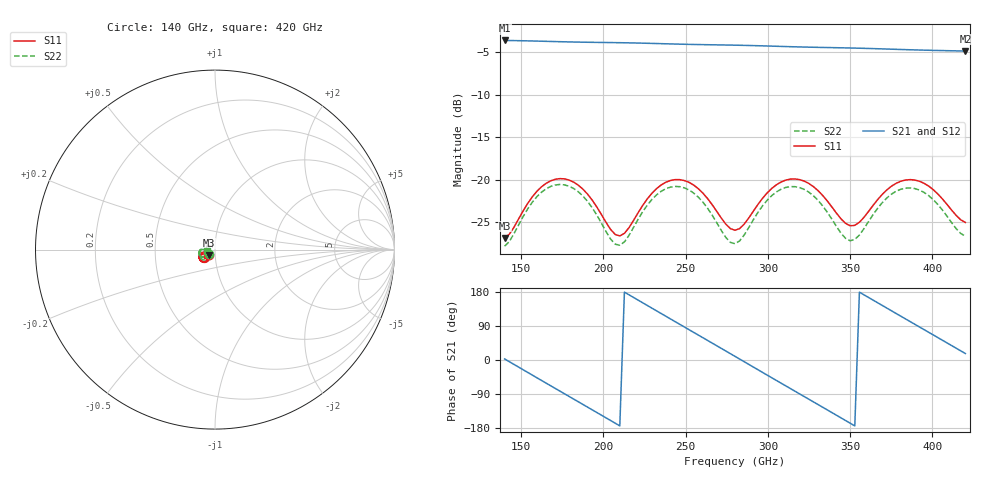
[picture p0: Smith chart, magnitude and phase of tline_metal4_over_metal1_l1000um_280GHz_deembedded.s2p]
! Created with skrf 2.0.1 (http://scikit-rf.org).
# GHz S DB R 50.0
!freq dBS11 angS11 dBS21 angS21 dBS12 angS12 dBS22 angS22
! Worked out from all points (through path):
!   101 points, 140 GHz to 420 GHz, reference 50 ohm
!   highest |S21| = -3.65 dB at 140 GHz (marker M1); lowest = -4.9 dB at 420 GHz (marker M2)
!   group delay of S21, straight-line fit = 7 ps
!   lowest |S11| = -26.8 dB at 140 GHz (marker M3), VSWR 1.10, Z = 46.6 - j2.79 ohm
!   |S11| at or under -10 dB: start of sweep to end of sweep
!   |S22| runs from -27.8 to -20.5 dB; largest |S21 - S12| = 7.5e-14
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140  -26.81 -139.2  -3.65 2.8  -3.65 2.8  -27.78 -145.0
151.2  -23.66 -120.6  -3.68 -25.6  -3.68 -25.6  -24.32 -127.5
165.2  -20.41 -131.8  -3.75 -61.0  -3.75 -61.0  -21.05 -140.9
176.4  -19.89 -147.7  -3.81 -89.2  -3.81 -89.2  -20.59 -158.1
187.6  -21.09 -162.1  -3.85 -117.3  -3.85 -117.3  -21.90 -173.7
201.6  -24.98 -164.5  -3.89 -152.6  -3.89 -152.6  -26.05 -176.6
212.8  -26.28 -137.4  -3.92 179.1  -3.92 179.1  -27.28 -147.8
224  -22.98 -125.1  -3.97 150.8  -3.97 150.8  -23.72 -137.1
235.2  -20.59 -133.8  -4.02 122.5  -4.02 122.5  -21.34 -147.6
254.8  -20.60 -158.3  -4.12 73.1  -4.12 73.1  -21.54 -174.7
268.8  -23.66 -165.1  -4.16 37.9  -4.16 37.9  -25.00 177.3
280  -25.92 -146.4  -4.20 9.6  -4.20 9.6  -27.49 -160.8
291.2  -23.66 -127.5  -4.25 -18.7  -4.25 -18.7  -24.67 -141.5
305.2  -20.57 -133.8  -4.33 -54.1  -4.33 -54.1  -21.41 -150.8
316.4  -19.89 -146.8  -4.39 -82.2  -4.39 -82.2  -20.80 -165.8
327.6  -20.79 -159.0  -4.45 -110.4  -4.45 -110.4  -21.86 -179.8
341.6  -23.89 -161.7  -4.50 -145.6  -4.50 -145.6  -25.45 176.7
352.8  -25.34 -141.5  -4.54 -173.9  -4.54 -173.9  -26.99 -159.3
375.2  -20.73 -132.4  -4.67 129.6  -4.67 129.6  -21.66 -153.2
386.4  -19.97 -144.0  -4.74 101.5  -4.74 101.5  -20.95 -167.0
397.6  -20.72 -155.4  -4.80 73.4  -4.80 73.4  -21.84 179.8
420  -25.00 -145.9  -4.90 17.0  -4.90 17.0  -26.61 -170.7
